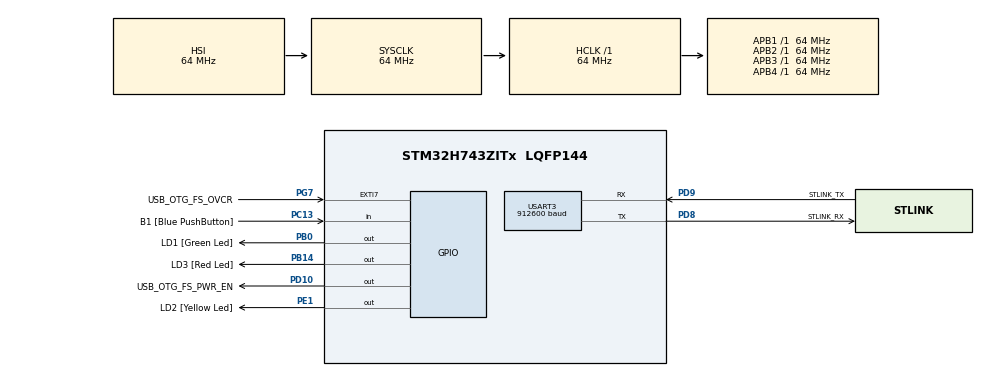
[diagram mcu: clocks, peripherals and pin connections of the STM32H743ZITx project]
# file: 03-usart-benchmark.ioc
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Mcu.Family=STM32H7
Mcu.Name=STM32H743ZITx
Mcu.Package=LQFP144
NVIC.PriorityGroup=NVIC_PRIORITYGROUP_4
NVIC.TIM6_DAC_IRQn=true\:0\:0\:false\:false\:true\:true\:true\:true
NVIC.USART3_IRQn=true\:0\:0\:false\:false\:true\:true\:true\:true
PB0.GPIO_Label=LD1 [Green Led]
PB0.Signal=GPIO_Output
PB14.GPIO_Label=LD3 [Red Led]
PB14.Signal=GPIO_Output
PC13.GPIO_Label=B1 [Blue PushButton]
PC13.Signal=GPIO_Input
PC14-OSC32_IN\ (OSC32_IN).Mode=LSE-External-Oscillator
PC14-OSC32_IN\ (OSC32_IN).Signal=RCC_OSC32_IN
PC15-OSC32_OUT\ (OSC32_OUT).Mode=LSE-External-Oscillator
PC15-OSC32_OUT\ (OSC32_OUT).Signal=RCC_OSC32_OUT
PD10.GPIO_Label=USB_OTG_FS_PWR_EN
PD10.Signal=GPIO_Output
PD8.GPIO_Label=STLINK_RX
PD8.Mode=Asynchronous
PD8.Signal=USART3_TX
PD9.GPIO_Label=STLINK_TX
PD9.Mode=Asynchronous
PD9.Signal=USART3_RX
PE1.GPIO_Label=LD2 [Yellow Led]
PE1.Signal=GPIO_Output
PG7.GPIO_Label=USB_OTG_FS_OVCR
PG7.Signal=GPXTI7
PH0-OSC_IN\ (PH0).Mode=HSE-External-Clock-Source
PH0-OSC_IN\ (PH0).Signal=RCC_OSC_IN
ProjectManager.HeapSize=0x200
ProjectManager.StackSize=0x400
ProjectManager.TargetToolchain=STM32CubeIDE
RCC.ADCFreq_Value=16125000
RCC.APB1Freq_Value=64000000
RCC.APB2Freq_Value=64000000
RCC.APB3Freq_Value=64000000
RCC.APB4Freq_Value=64000000
RCC.CortexFreq_Value=64000000
RCC.DIVM1=1
RCC.DIVN1=24
RCC.DIVQ1=4
RCC.HCLKFreq_Value=64000000
RCC.HSE_VALUE=8000000
RCC.PLLFRACN=0
RCC.PLLSourceVirtual=RCC_PLLSOURCE_HSE
RCC.PWR_Regulator_Voltage_Scale=PWR_REGULATOR_VOLTAGE_SCALE2
RCC.SYSCLKFreq_VALUE=64000000
RCC.USBFreq_Value=48000000
USART3.BaudRate=912600
USART3.VirtualMode-Asynchronous=VM_ASYNC
VP_MEMORYMAP_VS_MEMORYMAP.Mode=CurAppReg
VP_TIM6_VS_ClockSourceINT.Mode=Enable_Timer
board=NUCLEO-H743ZI2

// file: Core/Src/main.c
/* USER CODE BEGIN Header */
/**
 ******************************************************************************
 * @file           : main.c
 * @brief          : Main program body
 ******************************************************************************
 * @attention
 *
 * Copyright (c) 2024 STMicroelectronics.
 * All rights reserved.
 *
 * This software is licensed under terms that can be found in the LICENSE file
 * in the root directory of this software component.
 * If no LICENSE file comes with this software, it is provided AS-IS.
 *
 ******************************************************************************
 */
/* USER CODE END Header */
#include "main.h"

/* USER CODE BEGIN Includes */
#include "lz_uart.h"
#include "lz_serial.h"
/* USER CODE END Includes */

TIM_HandleTypeDef htim6;

UART_HandleTypeDef huart3;

/* USER CODE BEGIN PV */
//extern lz_queue_t __lz_serial_tx_buffer;

/* USER CODE END PV */

void SystemClock_Config(void);
static void MX_GPIO_Init(void);
static void MX_USART3_UART_Init(void);
static void MX_TIM6_Init(void);

/* USER CODE BEGIN 0 */
volatile enum {
	LZ_IDLE, LZ_RUN, LZ_RESULTS
} gState = LZ_IDLE;

uint8_t __lz_serial_new_character_read(char c) {
	if (gState == LZ_RUN)
		return 0;

	switch (c) {
	case 'r':
		gState = LZ_RUN;
		return 1;
	case 'v':
		gState = LZ_RESULTS;
		return 1;
	default:
		break;
	}

	return 0;
}

void __lz_serial_error_tx_buffer_full(void) {
	GPIOE->BSRR = GPIO_BSRR_BS1;
}

void __lz_serial_error_rx_buffer_full(void) {
	GPIOB->BSRR = GPIO_BSRR_BS14;

	Error_Handler();
}

uint64_t xorshift64(uint64_t x) {
	//*
	x ^= x << 13;
	x ^= x >> 7;
	x ^= x << 17;
	//*/
	return x;
}

/* USER CODE END 0 */

int main(void)
{

  /* MCU Configuration--------------------------------------------------------*/

  /* Reset of all peripherals, Initializes the Flash interface and the Systick. */
  HAL_Init();

  /* USER CODE BEGIN Init */
	lz_uart_setup();
  /* USER CODE END Init */

  /* Configure the system clock */
  SystemClock_Config();

  /* Initialize all configured peripherals */
  MX_GPIO_Init();
  MX_USART3_UART_Init();
  MX_TIM6_Init();
  /* USER CODE BEGIN 2 */
	uint64_t fails = 0;

	TIM6->PSC = 65535;
	TIM6->ARR = 65535;
	TIM6->DIER |= TIM_DIER_UIE;

	lz_uart_setup();
  /* USER CODE END 2 */

  /* Infinite loop */
  /* USER CODE BEGIN WHILE */
	while (1) {

		switch(gState)
		{

			case LZ_RESULTS:
			{
				uint32_t tim6_clock = HAL_RCC_GetPCLK1Freq();
				lz_serial_send_binary(&tim6_clock, sizeof(tim6_clock));

				uint16_t psc = TIM6->PSC;
				lz_serial_send_binary(&psc, sizeof(psc));

				uint16_t cnt = TIM6->CNT;
				lz_serial_send_binary(&cnt, sizeof(cnt));

				lz_serial_send_binary(&fails, sizeof(fails));

				fails = 0;
				GPIOE->BSRR = GPIO_BSRR_BR1;

				gState = LZ_IDLE;
			}
			break;

			case LZ_RUN:
			{
				uint8_t runId;
				lz_serial_read(&runId, sizeof(runId));

				uint64_t count;
				lz_serial_read(&count, sizeof(count));

				uint64_t state;
				lz_serial_read(&state, sizeof(state));

				if (runId == 'w')
					lz_serial_print("!");
				else
				{
					lz_serial_send_binary(&runId, sizeof(runId));
				}

				switch(runId)
				{
					case 'w':
					{
						lz_serial_flush();

						TIM6->CR1 |= TIM_CR1_CEN;
						TIM6->CNT = 0;

						for (uint64_t i = 0; i < count; i++)
						{
							state = xorshift64(state);
							lz_serial_send_binary(&state, sizeof(state));
						}
						lz_serial_flush();

						TIM6->CR1 &= ~TIM_CR1_CEN;

						uint64_t endCode = 0xABCDEF;
						lz_serial_send_binary(&endCode, sizeof(endCode));
					}
					break;
				}

				gState = LZ_IDLE;
			}
			break;

			default:
		}

    /* USER CODE END WHILE */

	}
}

void SystemClock_Config(void)
{
  RCC_OscInitTypeDef RCC_OscInitStruct = {0};
  RCC_ClkInitTypeDef RCC_ClkInitStruct = {0};

  /** Supply configuration update enable
  */
  HAL_PWREx_ConfigSupply(PWR_LDO_SUPPLY);

  /** Configure the main internal regulator output voltage
  */
  __HAL_PWR_VOLTAGESCALING_CONFIG(PWR_REGULATOR_VOLTAGE_SCALE2);

  while(!__HAL_PWR_GET_FLAG(PWR_FLAG_VOSRDY)) {}

  /** Initializes the RCC Oscillators according to the specified parameters
  * in the RCC_OscInitTypeDef structure.
  */
  RCC_OscInitStruct.OscillatorType = RCC_OSCILLATORTYPE_HSI;
  RCC_OscInitStruct.HSIState = RCC_HSI_DIV1;
  RCC_OscInitStruct.HSICalibrationValue = RCC_HSICALIBRATION_DEFAULT;
  RCC_OscInitStruct.PLL.PLLState = RCC_PLL_NONE;
  if (HAL_RCC_OscConfig(&RCC_OscInitStruct) != HAL_OK)
  {
    Error_Handler();
  }

  /** Initializes the CPU, AHB and APB buses clocks
  */
  RCC_ClkInitStruct.ClockType = RCC_CLOCKTYPE_HCLK|RCC_CLOCKTYPE_SYSCLK
                              |RCC_CLOCKTYPE_PCLK1|RCC_CLOCKTYPE_PCLK2
                              |RCC_CLOCKTYPE_D3PCLK1|RCC_CLOCKTYPE_D1PCLK1;
  RCC_ClkInitStruct.SYSCLKSource = RCC_SYSCLKSOURCE_HSI;
  RCC_ClkInitStruct.SYSCLKDivider = RCC_SYSCLK_DIV1;
  RCC_ClkInitStruct.AHBCLKDivider = RCC_HCLK_DIV1;
  RCC_ClkInitStruct.APB3CLKDivider = RCC_APB3_DIV1;
  RCC_ClkInitStruct.APB1CLKDivider = RCC_APB1_DIV1;
  RCC_ClkInitStruct.APB2CLKDivider = RCC_APB2_DIV1;
  RCC_ClkInitStruct.APB4CLKDivider = RCC_APB4_DIV1;

  if (HAL_RCC_ClockConfig(&RCC_ClkInitStruct, FLASH_LATENCY_1) != HAL_OK)
  {
    Error_Handler();
  }
}

static void MX_TIM6_Init(void)
{

  TIM_MasterConfigTypeDef sMasterConfig = {0};

  htim6.Instance = TIM6;
  htim6.Init.Prescaler = 0;
  htim6.Init.CounterMode = TIM_COUNTERMODE_UP;
  htim6.Init.Period = 65535;
  htim6.Init.AutoReloadPreload = TIM_AUTORELOAD_PRELOAD_DISABLE;
  if (HAL_TIM_Base_Init(&htim6) != HAL_OK)
  {
    Error_Handler();
  }
  sMasterConfig.MasterOutputTrigger = TIM_TRGO_RESET;
  sMasterConfig.MasterSlaveMode = TIM_MASTERSLAVEMODE_DISABLE;
  if (HAL_TIMEx_MasterConfigSynchronization(&htim6, &sMasterConfig) != HAL_OK)
  {
    Error_Handler();
  }

}

static void MX_USART3_UART_Init(void)
{

  huart3.Instance = USART3;
  huart3.Init.BaudRate = 912600;
  huart3.Init.WordLength = UART_WORDLENGTH_8B;
  huart3.Init.StopBits = UART_STOPBITS_1;
  huart3.Init.Parity = UART_PARITY_NONE;
  huart3.Init.Mode = UART_MODE_TX_RX;
  huart3.Init.HwFlowCtl = UART_HWCONTROL_NONE;
  huart3.Init.OverSampling = UART_OVERSAMPLING_16;
  huart3.Init.OneBitSampling = UART_ONE_BIT_SAMPLE_DISABLE;
  huart3.Init.ClockPrescaler = UART_PRESCALER_DIV1;
  huart3.AdvancedInit.AdvFeatureInit = UART_ADVFEATURE_NO_INIT;
  if (HAL_UART_Init(&huart3) != HAL_OK)
  {
    Error_Handler();
  }
  if (HAL_UARTEx_SetTxFifoThreshold(&huart3, UART_TXFIFO_THRESHOLD_1_8) != HAL_OK)
  {
    Error_Handler();
  }
  if (HAL_UARTEx_SetRxFifoThreshold(&huart3, UART_RXFIFO_THRESHOLD_1_8) != HAL_OK)
  {
    Error_Handler();
  }
  if (HAL_UARTEx_DisableFifoMode(&huart3) != HAL_OK)
  {
    Error_Handler();
  }

}

static void MX_GPIO_Init(void)
{
  GPIO_InitTypeDef GPIO_InitStruct = {0};

  /* GPIO Ports Clock Enable */
  __HAL_RCC_GPIOC_CLK_ENABLE();
  __HAL_RCC_GPIOH_CLK_ENABLE();
  __HAL_RCC_GPIOB_CLK_ENABLE();
  __HAL_RCC_GPIOD_CLK_ENABLE();
  __HAL_RCC_GPIOG_CLK_ENABLE();
  __HAL_RCC_GPIOE_CLK_ENABLE();

  /*Configure GPIO pin Output Level */
  HAL_GPIO_WritePin(GPIOB, LD1_Pin|LD3_Pin, GPIO_PIN_RESET);

  /*Configure GPIO pin Output Level */
  HAL_GPIO_WritePin(USB_OTG_FS_PWR_EN_GPIO_Port, USB_OTG_FS_PWR_EN_Pin, GPIO_PIN_RESET);

  /*Configure GPIO pin Output Level */
  HAL_GPIO_WritePin(LD2_GPIO_Port, LD2_Pin, GPIO_PIN_RESET);

  /*Configure GPIO pin : B1_Pin */
  GPIO_InitStruct.Pin = B1_Pin;
  GPIO_InitStruct.Mode = GPIO_MODE_INPUT;
  GPIO_InitStruct.Pull = GPIO_NOPULL;
  HAL_GPIO_Init(B1_GPIO_Port, &GPIO_InitStruct);

  /*Configure GPIO pins : LD1_Pin LD3_Pin */
  GPIO_InitStruct.Pin = LD1_Pin|LD3_Pin;
  GPIO_InitStruct.Mode = GPIO_MODE_OUTPUT_PP;
  GPIO_InitStruct.Pull = GPIO_NOPULL;
  GPIO_InitStruct.Speed = GPIO_SPEED_FREQ_LOW;
  HAL_GPIO_Init(GPIOB, &GPIO_InitStruct);

  /*Configure GPIO pin : USB_OTG_FS_PWR_EN_Pin */
  GPIO_InitStruct.Pin = USB_OTG_FS_PWR_EN_Pin;
  GPIO_InitStruct.Mode = GPIO_MODE_OUTPUT_PP;
  GPIO_InitStruct.Pull = GPIO_NOPULL;
  GPIO_InitStruct.Speed = GPIO_SPEED_FREQ_LOW;
  HAL_GPIO_Init(USB_OTG_FS_PWR_EN_GPIO_Port, &GPIO_InitStruct);

  /*Configure GPIO pin : USB_OTG_FS_OVCR_Pin */
  GPIO_InitStruct.Pin = USB_OTG_FS_OVCR_Pin;
  GPIO_InitStruct.Mode = GPIO_MODE_IT_RISING;
  GPIO_InitStruct.Pull = GPIO_NOPULL;
  HAL_GPIO_Init(USB_OTG_FS_OVCR_GPIO_Port, &GPIO_InitStruct);

  /*Configure GPIO pin : LD2_Pin */
  GPIO_InitStruct.Pin = LD2_Pin;
  GPIO_InitStruct.Mode = GPIO_MODE_OUTPUT_PP;
  GPIO_InitStruct.Pull = GPIO_NOPULL;
  GPIO_InitStruct.Speed = GPIO_SPEED_FREQ_LOW;
  HAL_GPIO_Init(LD2_GPIO_Port, &GPIO_InitStruct);

}

void Error_Handler(void)
{
	__disable_irq();
	while (1) {
	}
}
